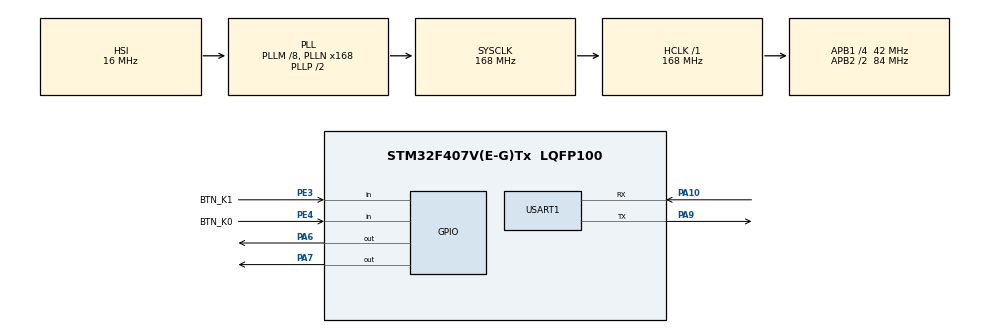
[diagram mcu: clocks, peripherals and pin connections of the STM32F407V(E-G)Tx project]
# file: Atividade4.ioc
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FREERTOS.CountingSemaphores01=vagas,1,Dynamic,NULL,1
FREERTOS.Tasks01=Carro1,24,128,Carro1_fun,Default,NULL,Dynamic,NULL,NULL;Carro2,24,128,Carro2_fun,Default,NULL,Dynamic,NULL,NULL;Carro3,24,128,Carro3_fun,Default,NULL,Dynamic,NULL,NULL;Carro4,24,128,Carro4_fun,Default,NULL,Dynamic,NULL,NULL;Carro5,24,128,Carro5_fun,Default,NULL,Dynamic,NULL,NULL
Mcu.Family=STM32F4
Mcu.Name=STM32F407V(E-G)Tx
Mcu.Package=LQFP100
NVIC.PriorityGroup=NVIC_PRIORITYGROUP_4
NVIC.TIM1_UP_TIM10_IRQn=true\:15\:0\:false\:false\:true\:false\:false\:true\:true
NVIC.TimeBase=TIM1_UP_TIM10_IRQn
NVIC.TimeBaseIP=TIM1
PA10.Mode=Asynchronous
PA10.Signal=USART1_RX
PA6.Signal=GPIO_Output
PA7.Signal=GPIO_Output
PA9.Mode=Asynchronous
PA9.Signal=USART1_TX
PE3.GPIO_Label=BTN_K1
PE3.GPIO_PuPd=GPIO_PULLUP
PE3.Signal=GPIO_Input
PE4.GPIO_Label=BTN_K0
PE4.GPIO_PuPd=GPIO_PULLUP
PE4.Signal=GPIO_Input
ProjectManager.HeapSize=0x200
ProjectManager.StackSize=0x400
ProjectManager.TargetToolchain=STM32CubeIDE
RCC.48MHZClocksFreq_Value=84000000
RCC.AHBFreq_Value=168000000
RCC.APB1CLKDivider=RCC_HCLK_DIV4
RCC.APB1Freq_Value=42000000
RCC.APB1TimFreq_Value=84000000
RCC.APB2CLKDivider=RCC_HCLK_DIV2
RCC.APB2Freq_Value=84000000
RCC.APB2TimFreq_Value=168000000
RCC.CortexFreq_Value=168000000
RCC.HCLKFreq_Value=168000000
RCC.HSE_VALUE=25000000
RCC.HSI_VALUE=16000000
RCC.LSE_VALUE=32768
RCC.PLLM=8
RCC.PLLN=168
RCC.SYSCLKFreq_VALUE=168000000
RCC.SYSCLKSource=RCC_SYSCLKSOURCE_PLLCLK
RCC.VCOOutputFreq_Value=336000000
USART1.VirtualMode=VM_ASYNC
VP_FREERTOS_VS_CMSIS_V2.Mode=CMSIS_V2
VP_SYS_VS_tim1.Mode=TIM1
board=custom

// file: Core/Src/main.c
/* USER CODE BEGIN Header */
/**
  ******************************************************************************
  * @file           : main.c
  * @brief          : Main program body
  ******************************************************************************
  * @attention
  *
  * Copyright (c) 2026 STMicroelectronics.
  * All rights reserved.
  *
  * This software is licensed under terms that can be found in the LICENSE file
  * in the root directory of this software component.
  * If no LICENSE file comes with this software, it is provided AS-IS.
  *
  ******************************************************************************
  */
/* USER CODE END Header */
#include "main.h"
#include "cmsis_os.h"

/* USER CODE BEGIN Includes */
#include <stdio.h>
#include <stdlib.h>
/* USER CODE END Includes */

UART_HandleTypeDef huart1;

/* Definitions for Carro1 */
osThreadId_t Carro1Handle;
const osThreadAttr_t Carro1_attributes = {
  .name = "Carro1",
  .stack_size = 128 * 4,
  .priority = (osPriority_t) osPriorityNormal,
};
/* Definitions for Carro2 */
osThreadId_t Carro2Handle;
const osThreadAttr_t Carro2_attributes = {
  .name = "Carro2",
  .stack_size = 128 * 4,
  .priority = (osPriority_t) osPriorityNormal,
};
/* Definitions for Carro3 */
osThreadId_t Carro3Handle;
const osThreadAttr_t Carro3_attributes = {
  .name = "Carro3",
  .stack_size = 128 * 4,
  .priority = (osPriority_t) osPriorityNormal,
};
/* Definitions for Carro4 */
osThreadId_t Carro4Handle;
const osThreadAttr_t Carro4_attributes = {
  .name = "Carro4",
  .stack_size = 128 * 4,
  .priority = (osPriority_t) osPriorityNormal,
};
/* Definitions for Carro5 */
osThreadId_t Carro5Handle;
const osThreadAttr_t Carro5_attributes = {
  .name = "Carro5",
  .stack_size = 128 * 4,
  .priority = (osPriority_t) osPriorityNormal,
};
/* Definitions for vagas */
osSemaphoreId_t vagasHandle;
const osSemaphoreAttr_t vagas_attributes = {
  .name = "vagas"
};

void SystemClock_Config(void);
static void MX_GPIO_Init(void);
static void MX_USART1_UART_Init(void);
void Carro1_fun(void *argument);
void Carro2_fun(void *argument);
void Carro3_fun(void *argument);
void Carro4_fun(void *argument);
void Carro5_fun(void *argument);

int main(void)
{

  /* MCU Configuration--------------------------------------------------------*/

  /* Reset of all peripherals, Initializes the Flash interface and the Systick. */
  HAL_Init();

  /* Configure the system clock */
  SystemClock_Config();

  /* Initialize all configured peripherals */
  MX_GPIO_Init();
  MX_USART1_UART_Init();
  /* USER CODE BEGIN 2 */
  srand((unsigned int)HAL_GetTick());
  /* USER CODE END 2 */

  /* Init scheduler */
  osKernelInitialize();

  /* Create the semaphores(s) */
  /* creation of vagas */
  vagasHandle = osSemaphoreNew(1, 1, &vagas_attributes);

  /* Create the thread(s) */
  /* creation of Carro1 */
  Carro1Handle = osThreadNew(Carro1_fun, NULL, &Carro1_attributes);

  /* creation of Carro2 */
  Carro2Handle = osThreadNew(Carro2_fun, NULL, &Carro2_attributes);

  /* creation of Carro3 */
  Carro3Handle = osThreadNew(Carro3_fun, NULL, &Carro3_attributes);

  /* creation of Carro4 */
  Carro4Handle = osThreadNew(Carro4_fun, NULL, &Carro4_attributes);

  /* creation of Carro5 */
  Carro5Handle = osThreadNew(Carro5_fun, NULL, &Carro5_attributes);

  /* Start scheduler */
  osKernelStart();

  /* We should never get here as control is now taken by the scheduler */

  /* Infinite loop */
  while (1)
  {

  }
}

void SystemClock_Config(void)
{
  RCC_OscInitTypeDef RCC_OscInitStruct = {0};
  RCC_ClkInitTypeDef RCC_ClkInitStruct = {0};

  /** Configure the main internal regulator output voltage
  */
  __HAL_RCC_PWR_CLK_ENABLE();
  __HAL_PWR_VOLTAGESCALING_CONFIG(PWR_REGULATOR_VOLTAGE_SCALE1);

  /** Initializes the RCC Oscillators according to the specified parameters
  * in the RCC_OscInitTypeDef structure.
  */
  RCC_OscInitStruct.OscillatorType = RCC_OSCILLATORTYPE_HSI;
  RCC_OscInitStruct.HSIState = RCC_HSI_ON;
  RCC_OscInitStruct.HSICalibrationValue = RCC_HSICALIBRATION_DEFAULT;
  RCC_OscInitStruct.PLL.PLLState = RCC_PLL_ON;
  RCC_OscInitStruct.PLL.PLLSource = RCC_PLLSOURCE_HSI;
  RCC_OscInitStruct.PLL.PLLM = 8;
  RCC_OscInitStruct.PLL.PLLN = 168;
  RCC_OscInitStruct.PLL.PLLP = RCC_PLLP_DIV2;
  RCC_OscInitStruct.PLL.PLLQ = 4;
  if (HAL_RCC_OscConfig(&RCC_OscInitStruct) != HAL_OK)
  {
    Error_Handler();
  }

  /** Initializes the CPU, AHB and APB buses clocks
  */
  RCC_ClkInitStruct.ClockType = RCC_CLOCKTYPE_HCLK|RCC_CLOCKTYPE_SYSCLK
                              |RCC_CLOCKTYPE_PCLK1|RCC_CLOCKTYPE_PCLK2;
  RCC_ClkInitStruct.SYSCLKSource = RCC_SYSCLKSOURCE_PLLCLK;
  RCC_ClkInitStruct.AHBCLKDivider = RCC_SYSCLK_DIV1;
  RCC_ClkInitStruct.APB1CLKDivider = RCC_HCLK_DIV4;
  RCC_ClkInitStruct.APB2CLKDivider = RCC_HCLK_DIV2;

  if (HAL_RCC_ClockConfig(&RCC_ClkInitStruct, FLASH_LATENCY_5) != HAL_OK)
  {
    Error_Handler();
  }
}

static void MX_USART1_UART_Init(void)
{

  huart1.Instance = USART1;
  huart1.Init.BaudRate = 115200;
  huart1.Init.WordLength = UART_WORDLENGTH_8B;
  huart1.Init.StopBits = UART_STOPBITS_1;
  huart1.Init.Parity = UART_PARITY_NONE;
  huart1.Init.Mode = UART_MODE_TX_RX;
  huart1.Init.HwFlowCtl = UART_HWCONTROL_NONE;
  huart1.Init.OverSampling = UART_OVERSAMPLING_16;
  if (HAL_UART_Init(&huart1) != HAL_OK)
  {
    Error_Handler();
  }

}

static void MX_GPIO_Init(void)
{
  GPIO_InitTypeDef GPIO_InitStruct = {0};

  /* GPIO Ports Clock Enable */
  __HAL_RCC_GPIOE_CLK_ENABLE();
  __HAL_RCC_GPIOA_CLK_ENABLE();

  /*Configure GPIO pin Output Level */
  HAL_GPIO_WritePin(GPIOA, GPIO_PIN_6|GPIO_PIN_7, GPIO_PIN_RESET);

  /*Configure GPIO pins : BTN_K1_Pin BTN_K0_Pin */
  GPIO_InitStruct.Pin = BTN_K1_Pin|BTN_K0_Pin;
  GPIO_InitStruct.Mode = GPIO_MODE_INPUT;
  GPIO_InitStruct.Pull = GPIO_PULLUP;
  HAL_GPIO_Init(GPIOE, &GPIO_InitStruct);

  /*Configure GPIO pins : PA6 PA7 */
  GPIO_InitStruct.Pin = GPIO_PIN_6|GPIO_PIN_7;
  GPIO_InitStruct.Mode = GPIO_MODE_OUTPUT_PP;
  GPIO_InitStruct.Pull = GPIO_NOPULL;
  GPIO_InitStruct.Speed = GPIO_SPEED_FREQ_LOW;
  HAL_GPIO_Init(GPIOA, &GPIO_InitStruct);

}

/* USER CODE BEGIN 4 */
int _write(int file, char *ptr, int len) {
    // Transmite os dados recebidos pelo printf via UART
    HAL_UART_Transmit(&huart1, (uint8_t*)ptr, len, HAL_MAX_DELAY);
    return len;
}
/* USER CODE END 4 */

void Carro1_fun(void *argument)
{
  /* USER CODE BEGIN 5 */
	osDelay(100 + (rand() % 100));
  uint32_t tempo_estacionado;
  uint32_t tempo_passeando;

  for(;;)
  {
    printf("[%lu ms] Carro 1: Tentando entrar...\r\n", osKernelGetTickCount());
    osSemaphoreAcquire(vagasHandle, osWaitForever);

    printf("[%lu ms] Carro 1: Entrada autorizada.\r\n", osKernelGetTickCount());

    // Simula tempo estacionado aleatório (entre 1000ms e 3000ms)
    tempo_estacionado = 1000 + (rand() % 2001);
    osDelay(tempo_estacionado);

    printf("[%lu ms] Carro 1: Saindo após %lu ms estacionado.\r\n", osKernelGetTickCount(), tempo_estacionado);
    osSemaphoreRelease(vagasHandle);

    // Simula tempo passeando pela cidade antes de tentar estacionar de novo (entre 2000ms e 5000ms)
    tempo_passeando = 2000 + (rand() % 3001);
    osDelay(tempo_passeando);
  }
  /* USER CODE END 5 */
}

void Carro2_fun(void *argument)
{
  /* USER CODE BEGIN Carro2_fun */
	osDelay(100 + (rand() % 100));
  uint32_t tempo_estacionado;
  uint32_t tempo_passeando;
  /* Infinite loop */
  for(;;)
  {
    printf("[%lu ms] Carro 2: Tentando entrar...\r\n", osKernelGetTickCount());
    osSemaphoreAcquire(vagasHandle, osWaitForever);

    printf("[%lu ms] Carro 2: Entrada autorizada.\r\n", osKernelGetTickCount());

    // Simula tempo estacionado aleatório (entre 1000ms e 3000ms)
    tempo_estacionado = 1000 + (rand() % 2001);
    osDelay(tempo_estacionado);

    printf("[%lu ms] Carro 2: Saindo após %lu ms estacionado.\r\n", osKernelGetTickCount(), tempo_estacionado);
    osSemaphoreRelease(vagasHandle);

    // Simula tempo passeando pela cidade antes de tentar estacionar de novo (entre 2000ms e 5000ms)
    tempo_passeando = 2000 + (rand() % 3001);
    osDelay(tempo_passeando);
  }
  /* USER CODE END Carro2_fun */
}

void Carro3_fun(void *argument)
{
  /* USER CODE BEGIN Carro3_fun */
	osDelay(100 + (rand() % 100));
  uint32_t tempo_estacionado;
  uint32_t tempo_passeando;
  /* Infinite loop */
  for(;;)
  {
	printf("[%lu ms] Carro 3: Tentando entrar...\r\n", osKernelGetTickCount());
	osSemaphoreAcquire(vagasHandle, osWaitForever);

	printf("[%lu ms] Carro 3: Entrada autorizada.\r\n", osKernelGetTickCount());

	// Simula tempo estacionado aleatório (entre 1000ms e 3000ms)
	tempo_estacionado = 1000 + (rand() % 2001);
	osDelay(tempo_estacionado);

	printf("[%lu ms] Carro 3: Saindo após %lu ms estacionado.\r\n", osKernelGetTickCount(), tempo_estacionado);
	osSemaphoreRelease(vagasHandle);

	// Simula tempo passeando pela cidade antes de tentar estacionar de novo (entre 2000ms e 5000ms)
	tempo_passeando = 2000 + (rand() % 3001);
	osDelay(tempo_passeando);
  }
  /* USER CODE END Carro3_fun */
}

void Carro4_fun(void *argument)
{
  /* USER CODE BEGIN Carro4_fun */
	osDelay(100 + (rand() % 100));
	  uint32_t tempo_estacionado;
	  uint32_t tempo_passeando;
	  /* Infinite loop */
  for(;;)
  {
	printf("[%lu ms] Carro 4: Tentando entrar...\r\n", osKernelGetTickCount());
	osSemaphoreAcquire(vagasHandle, osWaitForever);

	printf("[%lu ms] Carro 4: Entrada autorizada.\r\n", osKernelGetTickCount());

	// Simula tempo estacionado aleatório (entre 1000ms e 3000ms)
	tempo_estacionado = 1000 + (rand() % 2001);
	osDelay(tempo_estacionado);

	printf("[%lu ms] Carro 4: Saindo após %lu ms estacionado.\r\n", osKernelGetTickCount(), tempo_estacionado);
	osSemaphoreRelease(vagasHandle);

	// Simula tempo passeando pela cidade antes de tentar estacionar de novo (entre 2000ms e 5000ms)
	tempo_passeando = 2000 + (rand() % 3001);
	osDelay(tempo_passeando);
  }
  /* USER CODE END Carro4_fun */
}

void Carro5_fun(void *argument)
{
  /* USER CODE BEGIN Carro5_fun */
	osDelay(100 + (rand() % 100));
  uint32_t tempo_estacionado;
  uint32_t tempo_passeando;
  /* Infinite loop */
  for(;;)
  {
	printf("[%lu ms] Carro 5: Tentando entrar...\r\n", osKernelGetTickCount());
	osSemaphoreAcquire(vagasHandle, osWaitForever);

	printf("[%lu ms] Carro 5: Entrada autorizada.\r\n", osKernelGetTickCount());

	// Simula tempo estacionado aleatório (entre 1000ms e 3000ms)
	tempo_estacionado = 1000 + (rand() % 2001);
	osDelay(tempo_estacionado);

	printf("[%lu ms] Carro 5: Saindo após %lu ms estacionado.\r\n", osKernelGetTickCount(), tempo_estacionado);
	osSemaphoreRelease(vagasHandle);

	// Simula tempo passeando pela cidade antes de tentar estacionar de novo (entre 2000ms e 5000ms)
	tempo_passeando = 2000 + (rand() % 3001);
	osDelay(tempo_passeando);
  }
  /* USER CODE END Carro5_fun */
}

void HAL_TIM_PeriodElapsedCallback(TIM_HandleTypeDef *htim)
{
  if (htim->Instance == TIM1)
  {
    HAL_IncTick();
  }
}

void Error_Handler(void)
{
  __disable_irq();
  while (1)
  {
  }
}
